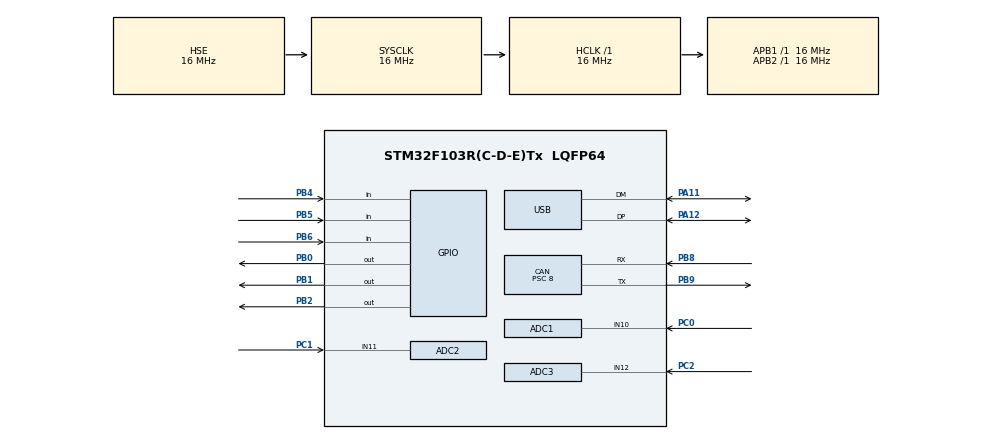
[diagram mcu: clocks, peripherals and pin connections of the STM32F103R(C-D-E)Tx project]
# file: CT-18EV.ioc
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ADC1.Channel-0\#ChannelRegularConversion=ADC_CHANNEL_10
ADC1.Mode=ADC_DUALMODE_REGSIMULT
ADC1.NbrOfConversionFlag=1
ADC1.Rank-0\#ChannelRegularConversion=1
ADC1.SamplingTime-0\#ChannelRegularConversion=ADC_SAMPLETIME_55CYCLES_5
ADC1.master=1
ADC2.Channel-0\#ChannelRegularConversion=ADC_CHANNEL_11
ADC2.Mode=ADC_DUALMODE_REGSIMULT
ADC2.NbrOfConversionFlag=1
ADC2.Rank-0\#ChannelRegularConversion=1
ADC2.SamplingTime-0\#ChannelRegularConversion=ADC_SAMPLETIME_55CYCLES_5
ADC3.Channel-0\#ChannelRegularConversion=ADC_CHANNEL_12
ADC3.NbrOfConversion=1
ADC3.NbrOfConversionFlag=1
ADC3.Rank-0\#ChannelRegularConversion=1
ADC3.SamplingTime-0\#ChannelRegularConversion=ADC_SAMPLETIME_55CYCLES_5
CAN.ABOM=ENABLE
CAN.AWUM=ENABLE
CAN.BS1=CAN_BS1_2TQ
CAN.CalculateBaudRate=500000
CAN.CalculateTimeBit=2000
CAN.CalculateTimeQuantum=500.0
CAN.Prescaler=8
Dma.ADC1.0.Direction=DMA_PERIPH_TO_MEMORY
Dma.ADC1.0.Instance=DMA1_Channel1
Dma.ADC1.0.MemDataAlignment=DMA_MDATAALIGN_WORD
Dma.ADC1.0.MemInc=DMA_MINC_ENABLE
Dma.ADC1.0.Mode=DMA_NORMAL
Dma.ADC1.0.PeriphDataAlignment=DMA_PDATAALIGN_WORD
Dma.ADC1.0.PeriphInc=DMA_PINC_DISABLE
Dma.ADC1.0.Priority=DMA_PRIORITY_LOW
Dma.ADC3.1.Direction=DMA_PERIPH_TO_MEMORY
Dma.ADC3.1.Instance=DMA2_Channel5
Dma.ADC3.1.MemDataAlignment=DMA_MDATAALIGN_HALFWORD
Dma.ADC3.1.MemInc=DMA_MINC_ENABLE
Dma.ADC3.1.Mode=DMA_NORMAL
Dma.ADC3.1.PeriphDataAlignment=DMA_PDATAALIGN_HALFWORD
Dma.ADC3.1.PeriphInc=DMA_PINC_DISABLE
Dma.ADC3.1.Priority=DMA_PRIORITY_LOW
Dma.Request0=ADC1
Dma.Request1=ADC3
Mcu.Family=STM32F1
Mcu.Name=STM32F103R(C-D-E)Tx
Mcu.Package=LQFP64
NVIC.DMA1_Channel1_IRQn=true\:0\:0\:false\:false\:true\:false\:true\:true
NVIC.DMA2_Channel4_5_IRQn=true\:0\:0\:false\:false\:true\:false\:true\:true
NVIC.PriorityGroup=NVIC_PRIORITYGROUP_4
NVIC.TIM2_IRQn=true\:0\:0\:false\:false\:true\:true\:true\:true
NVIC.TIM3_IRQn=true\:0\:0\:false\:false\:true\:true\:true\:true
NVIC.TIM4_IRQn=true\:0\:0\:true\:false\:true\:true\:true\:true
NVIC.USB_LP_CAN1_RX0_IRQn=true\:0\:0\:false\:false\:true\:true\:true\:true
PA11.Mode=Device
PA11.Signal=USB_DM
PA12.Mode=Device
PA12.Signal=USB_DP
PA13.Mode=Serial_Wire
PA13.Signal=SYS_JTMS-SWDIO
PA14.Mode=Serial_Wire
PA14.Signal=SYS_JTCK-SWCLK
PB0.GPIO_PuPd=GPIO_PULLDOWN
PB0.Signal=GPIO_Output
PB1.Signal=GPIO_Output
PB2.Signal=GPIO_Output
PB4.Signal=GPIO_Input
PB5.Signal=GPIO_Input
PB6.Signal=GPIO_Input
PB8.Mode=CAN_Activate
PB8.Signal=CAN_RX
PB9.Mode=CAN_Activate
PB9.Signal=CAN_TX
PC0.Signal=ADCx_IN10
PC1.Signal=ADCx_IN11
PC2.Signal=ADCx_IN12
PD0-OSC_IN.Mode=HSE-External-Oscillator
PD0-OSC_IN.Signal=RCC_OSC_IN
PD1-OSC_OUT.Mode=HSE-External-Oscillator
PD1-OSC_OUT.Signal=RCC_OSC_OUT
ProjectManager.HeapSize=0x200
ProjectManager.StackSize=0x400
ProjectManager.TargetToolchain=STM32CubeIDE
RCC.AHBFreq_Value=16000000
RCC.APB1Freq_Value=16000000
RCC.APB1TimFreq_Value=16000000
RCC.APB2Freq_Value=16000000
RCC.APB2TimFreq_Value=16000000
RCC.HCLKFreq_Value=16000000
RCC.HSE_VALUE=16000000
RCC.PLLMUL=RCC_PLL_MUL3
RCC.SYSCLKFreq_VALUE=16000000
RCC.SYSCLKSource=RCC_SYSCLKSOURCE_HSE
RCC.USBFreq_Value=48000000
SH.ADCx_IN10.0=ADC1_IN10,IN10
SH.ADCx_IN11.0=ADC2_IN11,IN11
SH.ADCx_IN12.0=ADC3_IN12,IN12
TIM2.ClockDivision=TIM_CLOCKDIVISION_DIV1
TIM2.Period=4999
TIM2.Prescaler=15
TIM3.ClockDivision=TIM_CLOCKDIVISION_DIV1
TIM3.Period=14399
TIM3.Prescaler=99
TIM4.AutoReloadPreload=TIM_AUTORELOAD_PRELOAD_ENABLE
TIM4.Prescaler=72-1
VP_TIM2_VS_ClockSourceINT.Mode=Internal
VP_TIM3_VS_ClockSourceINT.Mode=Internal
VP_TIM4_VS_ClockSourceINT.Mode=Internal
board=custom

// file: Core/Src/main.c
/* USER CODE BEGIN Header */
/**
 ******************************************************************************
 * @file           : main.c
 * @brief          : Main program body
 ******************************************************************************
 * @attention
 *
 * Copyright (c) 2024 STMicroelectronics.
 * All rights reserved.
 *
 * This software is licensed under terms that can be found in the LICENSE file
 * in the root directory of this software component.
 * If no LICENSE file comes with this software, it is provided AS-IS.
 *
 ******************************************************************************
 */
/* USER CODE END Header */
#include "main.h"

/* USER CODE BEGIN Includes */
#include <math.h>
#include <velo_estimator.h>

#include "config.h"
#include "pinout.h"
#include "adc.h"
#include "can_tx.h"
#include "rtd.h"
#include "launch_control.h"
#include "regen.h"
#include "soc_kf.h"

/* USER CODE END Includes */

ADC_HandleTypeDef hadc1;
ADC_HandleTypeDef hadc2;
ADC_HandleTypeDef hadc3;
DMA_HandleTypeDef hdma_adc1;
DMA_HandleTypeDef hdma_adc3;

CAN_HandleTypeDef hcan;

TIM_HandleTypeDef htim2;
TIM_HandleTypeDef htim3;
TIM_HandleTypeDef htim4;

PCD_HandleTypeDef hpcd_USB_FS;

void SystemClock_Config(void);
static void MX_GPIO_Init(void);
static void MX_DMA_Init(void);
static void MX_ADC1_Init(void);
static void MX_CAN_Init(void);
static void MX_USB_PCD_Init(void);
static void MX_TIM2_Init(void);
static void MX_TIM3_Init(void);
static void MX_ADC2_Init(void);
static void MX_ADC3_Init(void);
static void MX_TIM4_Init(void);

/* USER CODE BEGIN 0 */
#define CAP(v, hi)       (((v) > (hi)) ? (hi) : (v))
#define CLAMP(v, lo, hi) (((v) < (lo)) ? (lo) : CAP(v, hi))

CAN_RxHeaderTypeDef RxHeader;
uint8_t RxData[8];

static uint32_t torque_limit = TORQUE_LIMIT_NM_X10;
volatile uint32_t motor_speed = 0;
volatile uint32_t motor_speed_tick = 0;

volatile int16_t accel_x_raw = 0;
volatile int16_t accel_y_raw = 0;
volatile int16_t accel_z_raw = 0;

volatile int16_t gyro_x_raw = 0;
volatile int16_t gyro_y_raw = 0;
volatile int16_t gyro_z_raw = 0;

volatile uint32_t current_limit = CURRENT_LIMIT_DEFAULT_A;
volatile uint8_t inverter_enabled = 0;
volatile uint8_t inverter_lockout = 1;
volatile uint8_t control_ready = 0;
volatile uint8_t print_ready = 0;
volatile uint8_t ready_to_drive = 0;
uint8_t tps1_oor = 0;
uint8_t tps2_oor = 0;
uint8_t tps_dist_error = 0;
volatile uint16_t rtd_timeout = RTD_TIMEOUT_INIT;
volatile uint8_t rtd_buzzer_counter = 0;
volatile uint8_t start_disable_debounce = 1;
volatile uint16_t disable_debounce = DISABLE_DEBOUNCE_INIT;

volatile uint32_t bus_voltage = BUS_VOLTAGE_DEFAULT_V;
volatile uint8_t inv_message = 0;
volatile uint16_t ext_frame_count = 0;

/* Worst control loop period (ms) */
volatile uint32_t loop_dt_max_ms = 0;

static uint8_t lc_was_enabled = 0;

volatile uint32_t ts_overflow = 0;

// get timestamp in microsecond resolution
// needed for encoder period measurement
uint32_t ts_now() {
	// disable ISRs temporarily so we don't need to worry about races
	uint32_t primask = __get_PRIMASK();
	__disable_irq();

	uint32_t overflow = ts_overflow;
	uint32_t count = __HAL_TIM_GET_COUNTER(&htim4);

	// overflow happened post read, reread and increment overflow
	if (__HAL_TIM_GET_FLAG(&htim4, TIM_FLAG_UPDATE)) {
		count = __HAL_TIM_GET_COUNTER(&htim4);
		overflow += 1;
	}

	__set_PRIMASK(primask);

    // build uint32_t from count and overflow
    return (overflow << 16) | count;
}

void HAL_CAN_RxFifo0MsgPendingCallback(CAN_HandleTypeDef *hcan) {
	RxHeader.StdId = 0;
	if (HAL_CAN_GetRxMessage(hcan, CAN_RX_FIFO0, &RxHeader, RxData) != HAL_OK) {
		return;
	}
	if (RxHeader.IDE != CAN_ID_STD) {
		ext_frame_count++;
		return;
	}

	if (RxHeader.StdId == CAN_ID_RX_INVERTER_STATE) {
		inverter_enabled = RxData[6] & 0x01;
		inverter_lockout = (RxData[6] >> 7) & 0x01;
		uint8_t ready_pin_state = (RxData[3] >> 1) & 0x01;
		inv_message = RxData[6];
		if (ready_pin_state) {
			rtd_timeout = 0;
		}
	} else if (RxHeader.StdId == CAN_ID_RX_MOTOR_SPEED) {
		int16_t motor_speed_raw = (int16_t) (uint16_t) (RxData[3] << 8
				| RxData[2]);
		motor_speed = (motor_speed_raw > 0) ? (uint32_t) motor_speed_raw : 0u;
		motor_speed_tick = HAL_GetTick();
	} else if (RxHeader.StdId == CAN_ID_RX_BMS_DCL) {
		uint16_t dcl_raw = (uint16_t) (RxData[1] << 8 | RxData[0]);
		current_limit = (dcl_raw > 3u) ? (uint32_t) (dcl_raw - 3u) : 0u;
	} else if (RxHeader.StdId == CAN_ID_RX_BMS_STATUS) {
		bus_voltage = (RxData[5] << 8 | RxData[4]);
		soc_kf_feed_bms((int16_t) (uint16_t) (RxData[7] << 8 | RxData[6]),
				(uint16_t) (RxData[5] << 8 | RxData[4]), RxData[2], RxData[1],
				HAL_GetTick());
	} else if (RxHeader.StdId == LC_AIM_WHEEL_SPEED_CAN_ID) {
		uint16_t fl_speed = RxData[1] << 8 | RxData[0];
		lc_feed_wheel_speed(fl_speed);
	} else if (RxHeader.StdId == CAN_ID_RX_AIM_ACCEL) {
		accel_x_raw = (int16_t)(((uint16_t)RxData[1] << 8) | RxData[0]);
		accel_y_raw = (int16_t)(((uint16_t)RxData[3] << 8) | RxData[2]);
		accel_z_raw = (int16_t)(((uint16_t)RxData[5] << 8) | RxData[4]);

		feed_velo_estimator_accel(accel_x_raw);
	} else if (RxHeader.StdId == CAN_ID_RX_AIM_GYRO) {
		gyro_x_raw = (int16_t)(((uint16_t)RxData[1] << 8) | RxData[0]);
		gyro_y_raw = (int16_t)(((uint16_t)RxData[3] << 8) | RxData[2]);
		gyro_z_raw = (int16_t)(((uint16_t)RxData[5] << 8) | RxData[4]);
	}
}

void HAL_TIM_PeriodElapsedCallback(TIM_HandleTypeDef *htim) {
	if (htim->Instance == TIM2) {
		control_ready = 1;
		if (start_disable_debounce) {
			disable_debounce += 1;
			disable_debounce = CAP(disable_debounce, DISABLE_DEBOUNCE_MAX);
		} else {
			disable_debounce = 0;
		}
	} else if (htim->Instance == TIM3) {
		print_ready = 1;
		if (ready_to_drive && rtd_buzzer_counter < RTD_BUZZER_COUNTER_MAX) {
			rtd_buzzer_counter += 1;
		}
		rtd_timeout += 1;
		rtd_timeout = CAP(rtd_timeout, RTD_TIMEOUT_MAX);
	} else if (htim->Instance == TIM4) {
		ts_overflow += 1;
	}
}

/* Map raw TPS to 0..1 across the drive range */
static float tmap_lut(float tps) {
	return (fmaxf(TMAP_DRIVE_START, fminf(tps, TMAP_DEADBAND_HIGH))
			- TMAP_DRIVE_START)
			* (1.0f / (TMAP_DEADBAND_HIGH - TMAP_DRIVE_START));
}

/* Map TPS to torque request (0.1 Nm), capped by DC current limit */
static int32_t torque_lut(float tps) {
	const float power_limit = (float) (TORQUE_POWER_NUM * current_limit)
			/ fmaxf(TORQUE_SPEED_DIV_MIN,
					(float) motor_speed * TORQUE_RPM_TO_DIV);

	float torque_limit_local = fminf((float) torque_limit, power_limit);

	if (motor_speed >= TORQUE_HIGH_SPEED_RPM) {
		torque_limit_local = TORQUE_HIGH_SPEED_NM_X10;
	}

	return (int32_t) (tps * torque_limit_local);
}

/* USER CODE END 0 */

int main(void)
{

  /* USER CODE BEGIN 1 */
	for (uint32_t i = 0; i < sizeof(RxData); i++) {
		RxData[i] = 0;
	}
  /* USER CODE END 1 */

  /* MCU Configuration--------------------------------------------------------*/

  /* Reset of all peripherals, Initializes the Flash interface and the Systick. */
  HAL_Init();

  /* Configure the system clock */
  SystemClock_Config();

  /* Initialize all configured peripherals */
  MX_GPIO_Init();
  MX_DMA_Init();
  MX_ADC1_Init();
  MX_CAN_Init();
  MX_USB_PCD_Init();
  MX_TIM2_Init();
  MX_TIM3_Init();
  MX_ADC2_Init();
  MX_ADC3_Init();
  MX_TIM4_Init();
  /* USER CODE BEGIN 2 */
	uint8_t TxData[8];
	/* Bank 1 held 0x0B1 (dynamic torque limit); nothing decodes it. */
	CAN_FilterTypeDef canfilterconfig;

	canfilterconfig.FilterActivation = CAN_FILTER_ENABLE;
	canfilterconfig.FilterBank = 2; /* Inverter state */
	canfilterconfig.FilterFIFOAssignment = CAN_RX_FIFO0;
	canfilterconfig.FilterIdHigh = CAN_ID_RX_INVERTER_STATE << 5;
	canfilterconfig.FilterIdLow = 0;
	canfilterconfig.FilterMaskIdHigh = CAN_STID_MASK_HIGH;
	canfilterconfig.FilterMaskIdLow = CAN_STID_MASK_LOW;
	canfilterconfig.FilterMode = CAN_FILTERMODE_IDMASK;
	canfilterconfig.FilterScale = CAN_FILTERSCALE_32BIT;
	HAL_CAN_ConfigFilter(&hcan, &canfilterconfig);

	canfilterconfig.FilterActivation = CAN_FILTER_ENABLE;
	canfilterconfig.FilterBank = 3; /* Motor speed */
	canfilterconfig.FilterFIFOAssignment = CAN_RX_FIFO0;
	canfilterconfig.FilterIdHigh = CAN_ID_RX_MOTOR_SPEED << 5;
	canfilterconfig.FilterIdLow = 0;
	canfilterconfig.FilterMaskIdHigh = CAN_STID_MASK_HIGH;
	canfilterconfig.FilterMaskIdLow = CAN_STID_MASK_LOW;
	canfilterconfig.FilterMode = CAN_FILTERMODE_IDMASK;
	canfilterconfig.FilterScale = CAN_FILTERSCALE_32BIT;
	HAL_CAN_ConfigFilter(&hcan, &canfilterconfig);

	canfilterconfig.FilterActivation = CAN_FILTER_ENABLE;
	canfilterconfig.FilterBank = 4; /* BMS current limit */
	canfilterconfig.FilterFIFOAssignment = CAN_RX_FIFO0;
	canfilterconfig.FilterIdHigh = CAN_ID_RX_BMS_DCL << 5;
	canfilterconfig.FilterIdLow = 0;
	canfilterconfig.FilterMaskIdHigh = CAN_STID_MASK_HIGH;
	canfilterconfig.FilterMaskIdLow = CAN_STID_MASK_LOW;
	canfilterconfig.FilterMode = CAN_FILTERMODE_IDMASK;
	canfilterconfig.FilterScale = CAN_FILTERSCALE_32BIT;
	HAL_CAN_ConfigFilter(&hcan, &canfilterconfig);

	canfilterconfig.FilterActivation = CAN_FILTER_ENABLE;
	canfilterconfig.FilterBank = 5; /* BMS status */
	canfilterconfig.FilterFIFOAssignment = CAN_RX_FIFO0;
	canfilterconfig.FilterIdHigh = CAN_ID_RX_BMS_STATUS << 5;
	canfilterconfig.FilterIdLow = 0;
	canfilterconfig.FilterMaskIdHigh = CAN_STID_MASK_HIGH;
	canfilterconfig.FilterMaskIdLow = CAN_STID_MASK_LOW;
	canfilterconfig.FilterMode = CAN_FILTERMODE_IDMASK;
	canfilterconfig.FilterScale = CAN_FILTERSCALE_32BIT;
	HAL_CAN_ConfigFilter(&hcan, &canfilterconfig);

	canfilterconfig.FilterActivation = CAN_FILTER_ENABLE;
	canfilterconfig.FilterBank = 6; /* Front wheel speed */
	canfilterconfig.FilterFIFOAssignment = CAN_RX_FIFO0;
	canfilterconfig.FilterIdHigh = LC_AIM_WHEEL_SPEED_CAN_ID << 5;
	canfilterconfig.FilterIdLow = 0;
	canfilterconfig.FilterMaskIdHigh = CAN_STID_MASK_HIGH;
	canfilterconfig.FilterMaskIdLow = CAN_STID_MASK_LOW;
	canfilterconfig.FilterMode = CAN_FILTERMODE_IDMASK;
	canfilterconfig.FilterScale = CAN_FILTERSCALE_32BIT;
	HAL_CAN_ConfigFilter(&hcan, &canfilterconfig);

	canfilterconfig.FilterActivation = CAN_FILTER_ENABLE;
	canfilterconfig.FilterBank = 7; /* AiM Accelerometer */
	canfilterconfig.FilterFIFOAssignment = CAN_RX_FIFO0;
	canfilterconfig.FilterIdHigh = CAN_ID_RX_AIM_ACCEL << 5;
	canfilterconfig.FilterIdLow = 0;
	canfilterconfig.FilterMaskIdHigh = CAN_STID_MASK_HIGH;
	canfilterconfig.FilterMaskIdLow = CAN_STID_MASK_LOW;
	canfilterconfig.FilterMode = CAN_FILTERMODE_IDMASK;
	canfilterconfig.FilterScale = CAN_FILTERSCALE_32BIT;
	HAL_CAN_ConfigFilter(&hcan, &canfilterconfig);

	canfilterconfig.FilterActivation = CAN_FILTER_ENABLE;
	canfilterconfig.FilterBank = 8; /* AiM Gyroscope */
	canfilterconfig.FilterFIFOAssignment = CAN_RX_FIFO0;
	canfilterconfig.FilterIdHigh = CAN_ID_RX_AIM_GYRO << 5;
	canfilterconfig.FilterIdLow = 0;
	canfilterconfig.FilterMaskIdHigh = CAN_STID_MASK_HIGH;
	canfilterconfig.FilterMaskIdLow = CAN_STID_MASK_LOW;
	canfilterconfig.FilterMode = CAN_FILTERMODE_IDMASK;
	canfilterconfig.FilterScale = CAN_FILTERSCALE_32BIT;
	HAL_CAN_ConfigFilter(&hcan, &canfilterconfig);

	HAL_CAN_Start(&hcan);

	if (HAL_CAN_ActivateNotification(&hcan, CAN_IT_RX_FIFO0_MSG_PENDING)
			!= HAL_OK) {
		Error_Handler();
	}

	lc_init();
	adc_init();
	rtd_init();
	can_tx_init();
	regen_init();
	soc_kf_init();

  /* USER CODE END 2 */

  /* Infinite loop */
  /* USER CODE BEGIN WHILE */

	float tps1 = 0;
	float tps2 = 0;
	float tps_combined = 0;
	float bps = 0;
	int32_t torque_request = 0;
	uint8_t heartbeat_counter = 0;
	uint32_t tps1_adc = 0;
	uint32_t tps2_adc = 0;
	uint32_t bps_adc = 0;
	uint8_t brake_pressed = 0;
	uint8_t bse_error = 0;
	uint8_t should_disable_inverter = 0;

	HAL_TIM_Base_Start_IT(&htim2);
	HAL_TIM_Base_Start_IT(&htim3);
	HAL_TIM_Base_Start_IT(&htim4);

	float tps1_avg = 0;
	float tps2_avg = 0;

	uint8_t rtd_raw = 0;
	uint32_t last_loop_tick = HAL_GetTick();

	while (1) {
		can_tx_pump();

		if (!control_ready) {
			continue;
		}
		control_ready = 0;

		const uint32_t loop_tick = HAL_GetTick();
		const uint32_t loop_dt_ms = loop_tick - last_loop_tick;
		last_loop_tick = loop_tick;
		if (loop_dt_ms > loop_dt_max_ms) {
			loop_dt_max_ms = loop_dt_ms;
		}

		adc_update();
		tps1_adc = adc_tps1();
		tps2_adc = adc_tps2();
		bps_adc = adc_bps();

		float tps1_v = (float) tps1_adc * ADC_TPS_V_PER_COUNT;
		tps1 = (tps1_v - TPS1_0PER) / (TPS1_100PER - TPS1_0PER);
		tps1 = fmaxf(0.0f, fminf(tps1, 1.0f));
		tps1_avg =
				(tps1_avg == 0) ?
						tps1 :
						tps1_avg * TPS_IIR_RATIO
								+ tps1 * (1.0f - TPS_IIR_RATIO);
		tps1 = tps1_avg;

		float tps2_v = (float) tps2_adc * ADC_TPS_V_PER_COUNT;
		tps2 = (tps2_v - TPS2_0PER) / (TPS2_100PER - TPS2_0PER);
		tps2 = fmaxf(0.0f, fminf(tps2, 1.0f));
		tps2_avg =
				(tps2_avg == 0) ?
						tps2 :
						tps2_avg * TPS_IIR_RATIO
								+ tps2 * (1.0f - TPS_IIR_RATIO);
		tps2 = tps2_avg;

		tps_combined = (tps1 + tps2) / 2;

		bps = (float) bps_adc * ADC_BPS_V_PER_COUNT;
		brake_pressed = bps > BPS_SETPOINT_V;

		rtd_raw = (HAL_GPIO_ReadPin(PIN_RTD_BUTTON_PORT, PIN_RTD_BUTTON)
				== PIN_RTD_BUTTON_ACTIVE);
		rtd_raw &= brake_pressed;

		if (rtd_debounce_update(rtd_raw, loop_dt_ms)) {
			ready_to_drive = 1;
		}

		ready_to_drive &= rtd_timeout < RTD_TIMEOUT_TICKS;

		HAL_GPIO_WritePin(PIN_RTD_LIGHT_PORT, PIN_RTD_LIGHT, ready_to_drive);

		if (ready_to_drive == 0) {
			rtd_buzzer_counter = 0;
		} else {
			if (rtd_buzzer_counter < RTD_BUZZER_TICKS) {
				HAL_GPIO_WritePin(PIN_RTD_BUZZER_PORT, PIN_RTD_BUZZER,
						GPIO_PIN_SET);
			} else {
				HAL_GPIO_WritePin(PIN_RTD_BUZZER_PORT, PIN_RTD_BUZZER,
						GPIO_PIN_RESET);
			}
		}

		tps1_oor = tps1_v < TPS1_FAULT_LOW || tps1_v > TPS1_FAULT_HIGH;
		tps2_oor = tps2_v < TPS2_FAULT_LOW || tps2_v > TPS2_FAULT_HIGH;
		tps_dist_error = fabsf(tps1 - tps2) > APPS_TRIP_PERCENT;

		if (!bse_error) {
			bse_error = brake_pressed && tps_combined >= BSE_TRIP_TPS;
		} else {
			bse_error = tps_combined >= BSE_CLEAR_TPS;
		}

		start_disable_debounce = tps1_oor || tps2_oor || tps_dist_error
				|| bse_error;
		should_disable_inverter = (disable_debounce > DISABLE_DEBOUNCE_TRIP)
				|| !ready_to_drive;

		torque_request = torque_lut(tmap_lut(tps_combined));

		// TODO: Once wheel speed sensors are added, pass wheel speed instead of zero
		upkeep_velo_estimator_conditions(ready_to_drive, tps_combined, motor_speed, 0);

		const soc_kf_debug_t *kf = soc_kf_get_debug();
		const uint8_t speed_stale = (int32_t) (loop_tick - motor_speed_tick)
				> (int32_t) MOTOR_SPEED_TIMEOUT_MS;
		const uint8_t regen_cut = brake_pressed || start_disable_debounce
				|| should_disable_inverter || speed_stale
				|| launch_control_enable;
		torque_request = regen_update(torque_request, motor_speed, tps_combined,
				kf, regen_cut, loop_dt_ms);

		lc_feed_tick(HAL_GetTick());
		if (launch_control_enable) {
			torque_request = lc_update(torque_request, motor_speed,
					tps_combined);
			lc_was_enabled = 1;
		} else if (lc_was_enabled) {
			lc_init();
			lc_was_enabled = 0;
		}

		if (should_disable_inverter) {
			torque_request = 0;
		}

		if (inverter_lockout == 1) {
			TxData[0] = torque_request & 0xFF;
			TxData[1] = torque_request >> 8 & 0xFF;
			TxData[2] = 0x00;
			TxData[3] = 0x00;
			TxData[4] = 0x01; /* Forward */
			TxData[5] = 0x00 | 0x02 | (heartbeat_counter << 4);
			TxData[6] = 0x00;
			TxData[7] = 0x00;

			can_tx_send(CAN_ID_TX_INVERTER_CMD, TxData, 8);
			heartbeat_counter += 1;
			heartbeat_counter = heartbeat_counter & CAN_HEARTBEAT_MASK;
		} else {
			TxData[0] = torque_request & 0xFF;
			TxData[1] = torque_request >> 8 & 0xFF;
			TxData[2] = 0x00;
			TxData[3] = 0x00;
			TxData[4] = 0x01; /* Forward */
			TxData[5] = (~should_disable_inverter & 0x01) | 0x02
					| (heartbeat_counter << 4);
			TxData[6] = 0x00;
			TxData[7] = 0x00;

			can_tx_send(CAN_ID_TX_INVERTER_CMD, TxData, 8);
			heartbeat_counter += 1;
			heartbeat_counter = heartbeat_counter & CAN_HEARTBEAT_MASK;
		}

		if (print_ready) {
			TxData[0] = rtd_timeout & 0xFF;
			TxData[1] = (bps_adc >> 4) & 0xFF;
			TxData[2] = (tps1_adc >> 4) & 0xFF;
			TxData[3] = (tps2_adc >> 4) & 0xFF;
			TxData[4] = (inverter_lockout << 7) | (inverter_enabled << 6)
					| (tps_dist_error << 5) | (tps2_oor << 4) | (tps1_oor << 3)
					| (bse_error << 2) | (ready_to_drive << 1)
					| should_disable_inverter;
			TxData[5] = (int) (tps1 * 100) & 0xff;
			TxData[6] = (int) (tps2 * 100) & 0xff;
			TxData[7] = (int) (tmap_lut(tps_combined) * 100) & 0xFF;

			can_tx_send(CAN_ID_TX_DEBUG, TxData, 8);

			TxData[0] = (ready_to_drive) & 0x01;

			can_tx_send(CAN_ID_TX_RTD, TxData, 1);

			soc_kf_update(HAL_GetTick());
			{
				uint8_t kfData[8];
				soc_kf_pack_state(kfData);
				kfData[7] = (uint8_t)CAP(loop_dt_max_ms, 255u);
				can_tx_send(SOC_KF_CAN_ID_STATE, kfData, 8);
			}

			// Accelerometer and gyroscope debug frame
			// Note that logging here downsamples to ~10hz compared to the 100hz transmission
			// not sure if it's an issue
			{
				uint8_t accelData[8];

				accelData[0] = accel_x_raw & 0xFF;
				accelData[1] = (accel_x_raw >> 8) & 0xFF;
				accelData[2] = accel_y_raw & 0xFF;
				accelData[3] = (accel_y_raw >> 8) & 0xFF;
				accelData[4] = accel_z_raw & 0xFF;
				accelData[5] = (accel_z_raw >> 8) & 0xFF;
				accelData[6] = 0x00;
				accelData[7] = 0x00;

				can_tx_send(CAN_ID_TX_AIM_ACCEL, accelData, 8);

				uint8_t gyroData[8];

				gyroData[0] = gyro_x_raw & 0xFF;
				gyroData[1] = (gyro_x_raw >> 8) & 0xFF;
				gyroData[2] = gyro_y_raw & 0xFF;
				gyroData[3] = (gyro_y_raw >> 8) & 0xFF;
				gyroData[4] = gyro_z_raw & 0xFF;
				gyroData[5] = (gyro_z_raw >> 8) & 0xFF;
				gyroData[6] = 0x00;
				gyroData[7] = 0x00;

				can_tx_send(CAN_ID_TX_AIM_GYRO, gyroData, 8);
			}

			regen_pack_debug(TxData);
			can_tx_send(REGEN_DEBUG_CAN_ID, TxData, 7);

			print_ready = 0;
		}

    /* USER CODE END WHILE */

	}
}

void SystemClock_Config(void)
{
  RCC_OscInitTypeDef RCC_OscInitStruct = {0};
  RCC_ClkInitTypeDef RCC_ClkInitStruct = {0};
  RCC_PeriphCLKInitTypeDef PeriphClkInit = {0};

  /** Initializes the RCC Oscillators according to the specified parameters
  * in the RCC_OscInitTypeDef structure.
  */
  RCC_OscInitStruct.OscillatorType = RCC_OSCILLATORTYPE_HSE;
  RCC_OscInitStruct.HSEState = RCC_HSE_ON;
  RCC_OscInitStruct.HSEPredivValue = RCC_HSE_PREDIV_DIV1;
  RCC_OscInitStruct.HSIState = RCC_HSI_ON;
  RCC_OscInitStruct.PLL.PLLState = RCC_PLL_ON;
  RCC_OscInitStruct.PLL.PLLSource = RCC_PLLSOURCE_HSE;
  RCC_OscInitStruct.PLL.PLLMUL = RCC_PLL_MUL3;
  if (HAL_RCC_OscConfig(&RCC_OscInitStruct) != HAL_OK)
  {
    Error_Handler();
  }

  /** Initializes the CPU, AHB and APB buses clocks
  */
  RCC_ClkInitStruct.ClockType = RCC_CLOCKTYPE_HCLK|RCC_CLOCKTYPE_SYSCLK
                              |RCC_CLOCKTYPE_PCLK1|RCC_CLOCKTYPE_PCLK2;
  RCC_ClkInitStruct.SYSCLKSource = RCC_SYSCLKSOURCE_HSE;
  RCC_ClkInitStruct.AHBCLKDivider = RCC_SYSCLK_DIV1;
  RCC_ClkInitStruct.APB1CLKDivider = RCC_HCLK_DIV1;
  RCC_ClkInitStruct.APB2CLKDivider = RCC_HCLK_DIV1;

  if (HAL_RCC_ClockConfig(&RCC_ClkInitStruct, FLASH_LATENCY_0) != HAL_OK)
  {
    Error_Handler();
  }
  PeriphClkInit.PeriphClockSelection = RCC_PERIPHCLK_ADC|RCC_PERIPHCLK_USB;
  PeriphClkInit.AdcClockSelection = RCC_ADCPCLK2_DIV2;
  PeriphClkInit.UsbClockSelection = RCC_USBCLKSOURCE_PLL;
  if (HAL_RCCEx_PeriphCLKConfig(&PeriphClkInit) != HAL_OK)
  {
    Error_Handler();
  }
}

static void MX_ADC1_Init(void)
{

  ADC_MultiModeTypeDef multimode = {0};
  ADC_ChannelConfTypeDef sConfig = {0};

  /** Common config
  */
  hadc1.Instance = ADC1;
  hadc1.Init.ScanConvMode = ADC_SCAN_DISABLE;
  hadc1.Init.ContinuousConvMode = DISABLE;
  hadc1.Init.DiscontinuousConvMode = DISABLE;
  hadc1.Init.ExternalTrigConv = ADC_SOFTWARE_START;
  hadc1.Init.DataAlign = ADC_DATAALIGN_RIGHT;
  hadc1.Init.NbrOfConversion = 1;
  if (HAL_ADC_Init(&hadc1) != HAL_OK)
  {
    Error_Handler();
  }

  /** Configure the ADC multi-mode
  */
  multimode.Mode = ADC_DUALMODE_REGSIMULT;
  if (HAL_ADCEx_MultiModeConfigChannel(&hadc1, &multimode) != HAL_OK)
  {
    Error_Handler();
  }

  /** Configure Regular Channel
  */
  sConfig.Channel = ADC_CHANNEL_10;
  sConfig.Rank = ADC_REGULAR_RANK_1;
  sConfig.SamplingTime = ADC_SAMPLETIME_55CYCLES_5;
  if (HAL_ADC_ConfigChannel(&hadc1, &sConfig) != HAL_OK)
  {
    Error_Handler();
  }

}

static void MX_ADC2_Init(void)
{

  ADC_ChannelConfTypeDef sConfig = {0};

  /** Common config
  */
  hadc2.Instance = ADC2;
  hadc2.Init.ScanConvMode = ADC_SCAN_DISABLE;
  hadc2.Init.ContinuousConvMode = DISABLE;
  hadc2.Init.DiscontinuousConvMode = DISABLE;
  hadc2.Init.ExternalTrigConv = ADC_SOFTWARE_START;
  hadc2.Init.DataAlign = ADC_DATAALIGN_RIGHT;
  hadc2.Init.NbrOfConversion = 1;
  if (HAL_ADC_Init(&hadc2) != HAL_OK)
  {
    Error_Handler();
  }

  /** Configure Regular Channel
  */
  sConfig.Channel = ADC_CHANNEL_11;
  sConfig.Rank = ADC_REGULAR_RANK_1;
  sConfig.SamplingTime = ADC_SAMPLETIME_55CYCLES_5;
  if (HAL_ADC_ConfigChannel(&hadc2, &sConfig) != HAL_OK)
  {
    Error_Handler();
  }

}

static void MX_ADC3_Init(void)
{

  ADC_ChannelConfTypeDef sConfig = {0};

  /** Common config
  */
  hadc3.Instance = ADC3;
  hadc3.Init.ScanConvMode = ADC_SCAN_DISABLE;
  hadc3.Init.ContinuousConvMode = DISABLE;
  hadc3.Init.DiscontinuousConvMode = DISABLE;
  hadc3.Init.ExternalTrigConv = ADC_SOFTWARE_START;
  hadc3.Init.DataAlign = ADC_DATAALIGN_RIGHT;
  hadc3.Init.NbrOfConversion = 1;
  if (HAL_ADC_Init(&hadc3) != HAL_OK)
  {
    Error_Handler();
  }

  /** Configure Regular Channel
  */
  sConfig.Channel = ADC_CHANNEL_12;
  sConfig.Rank = ADC_REGULAR_RANK_1;
  sConfig.SamplingTime = ADC_SAMPLETIME_55CYCLES_5;
  if (HAL_ADC_ConfigChannel(&hadc3, &sConfig) != HAL_OK)
  {
    Error_Handler();
  }

}

static void MX_CAN_Init(void)
{

  hcan.Instance = CAN1;
  hcan.Init.Prescaler = 8;
  hcan.Init.Mode = CAN_MODE_NORMAL;
  hcan.Init.SyncJumpWidth = CAN_SJW_1TQ;
  hcan.Init.TimeSeg1 = CAN_BS1_2TQ;
  hcan.Init.TimeSeg2 = CAN_BS2_1TQ;
  hcan.Init.TimeTriggeredMode = DISABLE;
  hcan.Init.AutoBusOff = ENABLE;
  hcan.Init.AutoWakeUp = ENABLE;
  hcan.Init.AutoRetransmission = DISABLE;
  hcan.Init.ReceiveFifoLocked = DISABLE;
  hcan.Init.TransmitFifoPriority = DISABLE;
  if (HAL_CAN_Init(&hcan) != HAL_OK)
  {
    Error_Handler();
  }

}

static void MX_TIM2_Init(void)
{

  TIM_ClockConfigTypeDef sClockSourceConfig = {0};
  TIM_MasterConfigTypeDef sMasterConfig = {0};

  htim2.Instance = TIM2;
  htim2.Init.Prescaler = 15;
  htim2.Init.CounterMode = TIM_COUNTERMODE_UP;
  htim2.Init.Period = 4999;
  htim2.Init.ClockDivision = TIM_CLOCKDIVISION_DIV1;
  htim2.Init.AutoReloadPreload = TIM_AUTORELOAD_PRELOAD_DISABLE;
  if (HAL_TIM_Base_Init(&htim2) != HAL_OK)
  {
    Error_Handler();
  }
  sClockSourceConfig.ClockSource = TIM_CLOCKSOURCE_INTERNAL;
  if (HAL_TIM_ConfigClockSource(&htim2, &sClockSourceConfig) != HAL_OK)
  {
    Error_Handler();
  }
  sMasterConfig.MasterOutputTrigger = TIM_TRGO_RESET;
  sMasterConfig.MasterSlaveMode = TIM_MASTERSLAVEMODE_DISABLE;
  if (HAL_TIMEx_MasterConfigSynchronization(&htim2, &sMasterConfig) != HAL_OK)
  {
    Error_Handler();
  }

}

static void MX_TIM3_Init(void)
{

  TIM_ClockConfigTypeDef sClockSourceConfig = {0};
  TIM_MasterConfigTypeDef sMasterConfig = {0};

  htim3.Instance = TIM3;
  htim3.Init.Prescaler = 99;
  htim3.Init.CounterMode = TIM_COUNTERMODE_UP;
  htim3.Init.Period = 14399;
  htim3.Init.ClockDivision = TIM_CLOCKDIVISION_DIV1;
  htim3.Init.AutoReloadPreload = TIM_AUTORELOAD_PRELOAD_DISABLE;
  if (HAL_TIM_Base_Init(&htim3) != HAL_OK)
  {
    Error_Handler();
  }
  sClockSourceConfig.ClockSource = TIM_CLOCKSOURCE_INTERNAL;
  if (HAL_TIM_ConfigClockSource(&htim3, &sClockSourceConfig) != HAL_OK)
  {
    Error_Handler();
  }
  sMasterConfig.MasterOutputTrigger = TIM_TRGO_RESET;
  sMasterConfig.MasterSlaveMode = TIM_MASTERSLAVEMODE_DISABLE;
  if (HAL_TIMEx_MasterConfigSynchronization(&htim3, &sMasterConfig) != HAL_OK)
  {
    Error_Handler();
  }

}

static void MX_TIM4_Init(void)
{

  TIM_ClockConfigTypeDef sClockSourceConfig = {0};
  TIM_MasterConfigTypeDef sMasterConfig = {0};

  htim4.Instance = TIM4;
  htim4.Init.Prescaler = 72-1;
  htim4.Init.CounterMode = TIM_COUNTERMODE_UP;
  htim4.Init.Period = 65535;
  htim4.Init.ClockDivision = TIM_CLOCKDIVISION_DIV1;
  htim4.Init.AutoReloadPreload = TIM_AUTORELOAD_PRELOAD_ENABLE;
  if (HAL_TIM_Base_Init(&htim4) != HAL_OK)
  {
    Error_Handler();
  }
  sClockSourceConfig.ClockSource = TIM_CLOCKSOURCE_INTERNAL;
  if (HAL_TIM_ConfigClockSource(&htim4, &sClockSourceConfig) != HAL_OK)
  {
    Error_Handler();
  }
  sMasterConfig.MasterOutputTrigger = TIM_TRGO_RESET;
  sMasterConfig.MasterSlaveMode = TIM_MASTERSLAVEMODE_DISABLE;
  if (HAL_TIMEx_MasterConfigSynchronization(&htim4, &sMasterConfig) != HAL_OK)
  {
    Error_Handler();
  }

}

static void MX_USB_PCD_Init(void)
{

  hpcd_USB_FS.Instance = USB;
  hpcd_USB_FS.Init.dev_endpoints = 8;
  hpcd_USB_FS.Init.speed = PCD_SPEED_FULL;
  hpcd_USB_FS.Init.low_power_enable = DISABLE;
  hpcd_USB_FS.Init.lpm_enable = DISABLE;
  hpcd_USB_FS.Init.battery_charging_enable = DISABLE;
  if (HAL_PCD_Init(&hpcd_USB_FS) != HAL_OK)
  {
    Error_Handler();
  }

}

static void MX_DMA_Init(void)
{

  /* DMA controller clock enable */
  __HAL_RCC_DMA1_CLK_ENABLE();
  __HAL_RCC_DMA2_CLK_ENABLE();

  /* DMA interrupt init */
  /* DMA1_Channel1_IRQn interrupt configuration */
  HAL_NVIC_SetPriority(DMA1_Channel1_IRQn, 0, 0);
  HAL_NVIC_EnableIRQ(DMA1_Channel1_IRQn);
  /* DMA2_Channel4_5_IRQn interrupt configuration */
  HAL_NVIC_SetPriority(DMA2_Channel4_5_IRQn, 0, 0);
  HAL_NVIC_EnableIRQ(DMA2_Channel4_5_IRQn);

}

static void MX_GPIO_Init(void)
{
  GPIO_InitTypeDef GPIO_InitStruct = {0};

  /* GPIO Ports Clock Enable */
  __HAL_RCC_GPIOD_CLK_ENABLE();
  __HAL_RCC_GPIOC_CLK_ENABLE();
  __HAL_RCC_GPIOB_CLK_ENABLE();
  __HAL_RCC_GPIOA_CLK_ENABLE();

  /*Configure GPIO pin Output Level */
  HAL_GPIO_WritePin(GPIOB, GPIO_PIN_0|GPIO_PIN_1|GPIO_PIN_2, GPIO_PIN_RESET);

  /*Configure GPIO pin : PB0 */
  GPIO_InitStruct.Pin = GPIO_PIN_0;
  GPIO_InitStruct.Mode = GPIO_MODE_OUTPUT_PP;
  GPIO_InitStruct.Pull = GPIO_PULLDOWN;
  GPIO_InitStruct.Speed = GPIO_SPEED_FREQ_LOW;
  HAL_GPIO_Init(GPIOB, &GPIO_InitStruct);

  /*Configure GPIO pins : PB1 PB2 */
  GPIO_InitStruct.Pin = GPIO_PIN_1|GPIO_PIN_2;
  GPIO_InitStruct.Mode = GPIO_MODE_OUTPUT_PP;
  GPIO_InitStruct.Pull = GPIO_NOPULL;
  GPIO_InitStruct.Speed = GPIO_SPEED_FREQ_LOW;
  HAL_GPIO_Init(GPIOB, &GPIO_InitStruct);

  /*Configure GPIO pins : PB4 PB5 PB6 */
  GPIO_InitStruct.Pin = GPIO_PIN_4|GPIO_PIN_5|GPIO_PIN_6;
  GPIO_InitStruct.Mode = GPIO_MODE_INPUT;
  GPIO_InitStruct.Pull = GPIO_NOPULL;
  HAL_GPIO_Init(GPIOB, &GPIO_InitStruct);

  /* USER CODE BEGIN MX_GPIO_Init_2 */
  /* RTD button (PB14) configured here to persist across CubeMX generation */
  GPIO_InitStruct.Pin = PIN_RTD_BUTTON;
  GPIO_InitStruct.Mode = GPIO_MODE_INPUT;
  GPIO_InitStruct.Pull = PIN_RTD_BUTTON_PULL;
  HAL_GPIO_Init(PIN_RTD_BUTTON_PORT, &GPIO_InitStruct);
  /* USER CODE END MX_GPIO_Init_2 */
}

void Error_Handler(void)
{
	__disable_irq();
	while (1) {
	}
}
